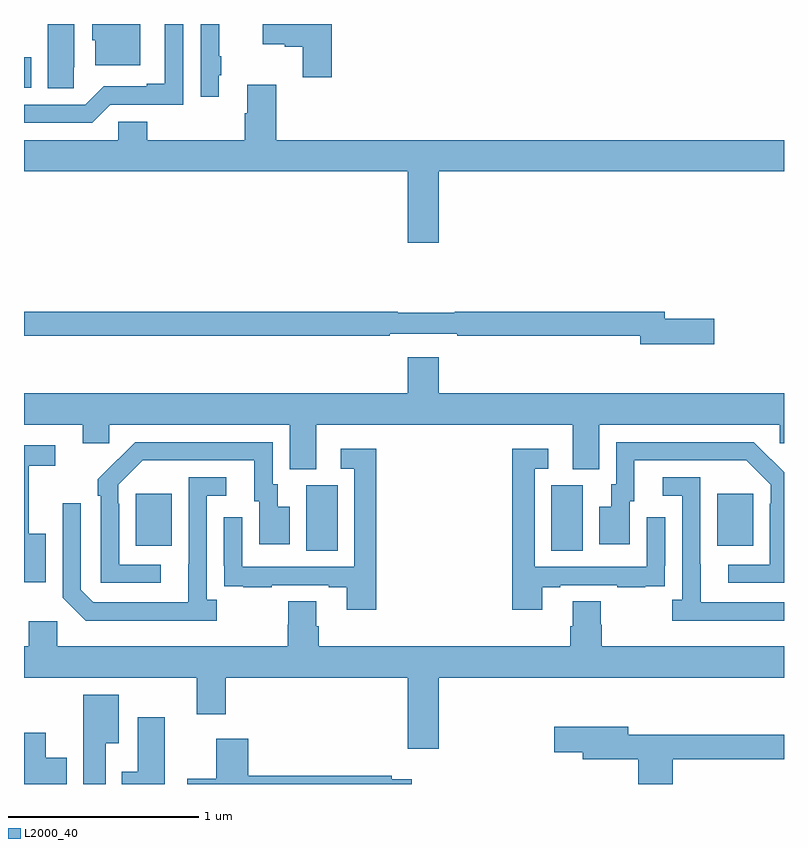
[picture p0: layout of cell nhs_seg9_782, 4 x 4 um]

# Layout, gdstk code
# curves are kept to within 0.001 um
import gdstk
lib = gdstk.Library(unit=1e-6, precision=1e-09)
def R(c, l, rs):  # rectangles x0, y0, x1, y1
    for r in rs: c.add(gdstk.rectangle(r[:2], r[2:], *l))
def P(c, l, *ps):  # polygons
    for p in ps: c.add(gdstk.Polygon(p, *l))
L2000_40 = (2000, 40)

nhs_seg9_782 = lib.new_cell('nhs_seg9_782')
R(nhs_seg9_782, L2000_40, [(152.486,1223.728,152.65,1224.072), (153.776,1223.728,153.94,1224.072), (151.589,1223.753,151.777,1224.028), (154.649,1223.753,154.837,1224.028), (151,1226.165,151.039,1226.325)])
P(nhs_seg9_782, L2000_40, [(152.026,1226.23),(152.038,1226.23),(152.038,1226.33),(152.028,1226.33),(152.028,1226.5),(151.929,1226.5),(151.929,1226.118),(152.026,1226.118)],
  [(151.455,1226.076),(151.839,1226.076),(151.839,1226.5),(151.742,1226.5),(151.742,1226.185),(151.646,1226.185),(151.646,1226.172),(151.419,1226.172),(151.323,1226.076),(151,1226.076),(151,1225.98),(151.359,1225.98)],
  [(152.621,1226.5),(152.256,1226.5),(152.256,1226.393),(152.373,1226.393),(152.373,1226.381),(152.467,1226.381),(152.467,1226.22),(152.621,1226.22)],
  [(151.612,1226.5),(151.358,1226.5),(151.358,1226.415),(151.376,1226.415),(151.376,1226.282),(151.612,1226.282)],
  [(151.263,1226.272),(151.264,1226.272),(151.264,1226.5),(151.124,1226.5),(151.124,1226.161),(151.263,1226.161)],
  [(151.497,1225.986),(151.497,1225.888),(151,1225.888),(151,1225.724),(153.02,1225.724),(153.02,1225.35),(153.184,1225.35),(153.184,1225.724),(155,1225.724),(155,1225.888),(152.327,1225.888),(152.327,1226.179),(152.174,1226.179),(152.174,1226.03),(152.162,1226.03),(152.162,1225.888),(151.649,1225.888),(151.649,1225.986)],
  [(154.633,1224.95),(154.372,1224.95),(154.372,1224.986),(153.268,1224.986),(153.268,1224.979),(152.968,1224.979),(152.968,1224.986),(151,1224.986),(151,1224.858),(152.924,1224.858),(152.924,1224.87),(153.28,1224.87),(153.28,1224.858),(154.244,1224.858),(154.244,1224.815),(154.633,1224.815)],
  [(152.539,1224.392),(153.887,1224.392),(153.887,1224.157),(154.027,1224.157),(154.027,1224.392),(154.977,1224.392),(154.977,1224.294),(155,1224.294),(155,1224.556),(153.184,1224.556),(153.184,1224.745),(153.02,1224.745),(153.02,1224.556),(151,1224.556),(151,1224.392),(151.31,1224.392),(151.31,1224.294),(151.449,1224.294),(151.449,1224.392),(152.399,1224.392),(152.399,1224.157),(152.539,1224.157)],
  [(155,1224.142),(154.84,1224.3),(154.116,1224.3),(154.116,1224.078),(154.091,1224.078),(154.091,1223.959),(154.028,1223.959),(154.028,1223.763),(154.189,1223.763),(154.189,1223.988),(154.213,1223.988),(154.213,1224.204),(154.801,1224.204),(154.929,1224.075),(154.929,1223.975),(154.926,1223.975),(154.926,1223.655),(154.707,1223.655),(154.707,1223.559),(155,1223.559)],
  [(151.72,1223.655),(151.5,1223.655),(151.5,1223.975),(151.497,1223.975),(151.497,1224.075),(151.626,1224.204),(152.213,1224.204),(152.213,1223.988),(152.237,1223.988),(152.237,1223.763),(152.398,1223.763),(152.398,1223.959),(152.335,1223.959),(152.335,1224.078),(152.31,1224.078),(152.31,1224.3),(151.586,1224.3),(151.389,1224.105),(151.389,1224.017),(151.404,1224.017),(151.404,1223.559),(151.72,1223.559)],
  [(151.114,1223.818),(151.025,1223.818),(151.025,1224.174),(151.165,1224.174),(151.165,1224.282),(151,1224.282),(151,1223.561),(151.114,1223.561)],
  [(153.727,1223.535),(153.823,1223.535),(153.823,1223.547),(154.123,1223.547),(154.123,1223.535),(154.271,1223.535),(154.271,1223.541),(154.373,1223.541),(154.373,1223.65),(154.374,1223.65),(154.374,1223.905),(154.278,1223.905),(154.278,1223.643),(153.687,1223.643),(153.687,1224.159),(153.76,1224.159),(153.76,1224.265),(153.571,1224.265),(153.571,1223.418),(153.727,1223.418)],
  [(152.855,1224.265),(152.667,1224.265),(152.667,1224.159),(152.739,1224.159),(152.739,1223.643),(152.148,1223.643),(152.148,1223.905),(152.052,1223.905),(152.052,1223.65),(152.053,1223.65),(152.053,1223.541),(152.155,1223.541),(152.155,1223.535),(152.303,1223.535),(152.303,1223.547),(152.603,1223.547),(152.603,1223.535),(152.699,1223.535),(152.699,1223.418),(152.855,1223.418)],
  [(155,1223.457),(154.561,1223.457),(154.561,1223.657),(154.56,1223.657),(154.56,1224.114),(154.362,1224.114),(154.362,1224.018),(154.464,1224.018),(154.464,1223.47),(154.413,1223.47),(154.413,1223.36),(155,1223.36)],
  [(152.014,1223.47),(151.962,1223.47),(151.962,1224.018),(152.065,1224.018),(152.065,1224.114),(151.866,1224.114),(151.865,1223.457),(151.365,1223.457),(151.299,1223.523),(151.299,1223.977),(151.203,1223.977),(151.203,1223.481),(151.324,1223.36),(152.014,1223.36)],
  [(153.184,1223.06),(155,1223.06),(155,1223.224),(154.04,1223.224),(154.04,1223.337),(154.035,1223.337),(154.035,1223.462),(153.887,1223.462),(153.887,1223.33),(153.875,1223.33),(153.875,1223.224),(152.552,1223.224),(152.552,1223.33),(152.539,1223.33),(152.539,1223.462),(152.392,1223.462),(152.392,1223.337),(152.387,1223.337),(152.387,1223.224),(151.176,1223.224),(151.176,1223.356),(151.025,1223.356),(151.025,1223.224),(151,1223.224),(151,1223.06),(151.91,1223.06),(151.91,1222.866),(152.063,1222.866),(152.063,1223.06),(153.02,1223.06),(153.02,1222.686),(153.184,1222.686)],
  [(151.429,1222.715),(151.498,1222.715),(151.498,1222.969),(151.313,1222.969),(151.313,1222.5),(151.429,1222.5)],
  [(151.741,1222.852),(151.598,1222.852),(151.598,1222.564),(151.514,1222.564),(151.514,1222.5),(151.741,1222.5)],
  [(154.415,1222.63),(155,1222.63),(155,1222.759),(154.18,1222.759),(154.18,1222.801),(153.792,1222.801),(153.792,1222.667),(153.941,1222.667),(153.941,1222.63),(154.232,1222.63),(154.232,1222.5),(154.415,1222.5)],
  [(151.225,1222.639),(151.114,1222.639),(151.114,1222.771),(151,1222.771),(151,1222.5),(151.225,1222.5)],
  [(153.04,1222.524),(152.936,1222.524),(152.936,1222.544),(152.18,1222.544),(152.18,1222.738),(152.012,1222.738),(152.012,1222.527),(151.86,1222.527),(151.86,1222.5),(153.04,1222.5)])

lib.write_gds('nhs_seg9_782.gds')
